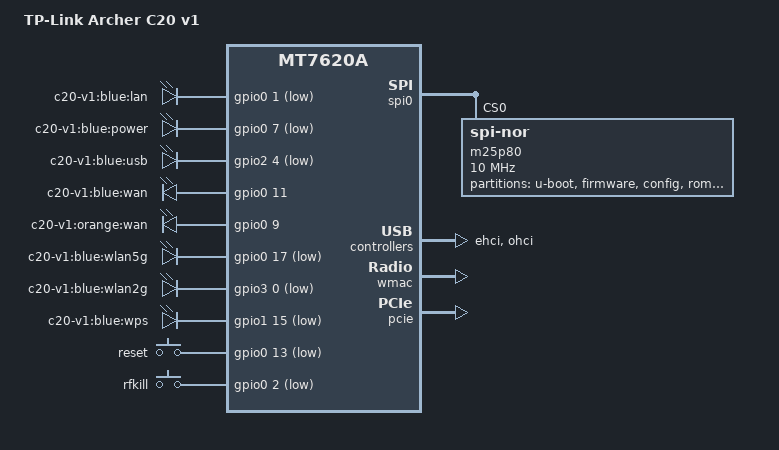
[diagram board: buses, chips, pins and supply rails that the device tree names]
/dts-v1/;

#include "mt7620a.dtsi"

#include <dt-bindings/input/input.h>
#include <dt-bindings/gpio/gpio.h>

/ {
	compatible = "tplink,c20-v1", "ralink,mt7620a-soc";
	model = "TP-Link Archer C20 v1";

	aliases {
		led-status = &led_power;
	};

	chosen {
		bootargs = "console=ttyS0,115200";
	};

	gpio-leds {
		compatible = "gpio-leds";

		lan {
			label = "c20-v1:blue:lan";
			gpios = <&gpio0 1 GPIO_ACTIVE_LOW>;
		};

		led_power: power {
			label = "c20-v1:blue:power";
			gpios = <&gpio0 7 GPIO_ACTIVE_LOW>;
			default-state = "keep";
		};

		usb {
			label = "c20-v1:blue:usb";
			gpios = <&gpio2 4 GPIO_ACTIVE_LOW>;
		};

		wan {
			label = "c20-v1:blue:wan";
			gpios = <&gpio0 11 GPIO_ACTIVE_HIGH>;
		};

		wan_orange {
			label = "c20-v1:orange:wan";
			gpios = <&gpio0 9 GPIO_ACTIVE_HIGH>;
		};

		wlan5g {
			label = "c20-v1:blue:wlan5g";
			gpios = <&gpio0 17 GPIO_ACTIVE_LOW>;
		};

		wlan2g {
			label = "c20-v1:blue:wlan2g";
			gpios = <&gpio3 0 GPIO_ACTIVE_LOW>;
		};

		wps {
			label = "c20-v1:blue:wps";
			gpios = <&gpio1 15 GPIO_ACTIVE_LOW>;
		};
	};

	gpio-keys-polled {
		compatible = "gpio-keys-polled";
		poll-interval = <20>;

		reset {
			label = "reset";
			gpios = <&gpio0 13 GPIO_ACTIVE_LOW>;
			linux,code = <KEY_RESTART>;
		};

		rfkill {
			label = "rfkill";
			gpios = <&gpio0 2 GPIO_ACTIVE_LOW>;
			linux,code = <KEY_RFKILL>;
		};
	};
};

&gpio1 {
	status = "okay";
};

&gpio2 {
	status = "okay";
};

&gpio3 {
	status = "okay";
};

&spi0 {
	status = "okay";

	m25p80@0 {
		compatible = "jedec,spi-nor";
		reg = <0>;
		spi-max-frequency = <10000000>;

		partitions {
			compatible = "fixed-partitions";
			#address-cells = <1>;
			#size-cells = <1>;

			partition@0 {
				label = "u-boot";
				reg = <0x0 0x20000>;
				read-only;
			};

			partition@20000 {
				label = "firmware";
				reg = <0x20000 0x7a0000>;
			};

			partition@7c0000 {
				label = "config";
				reg = <0x7c0000 0x10000>;
				read-only;
			};

			rom: partition@7d0000 {
				label = "rom";
				reg = <0x7d0000 0x10000>;
				read-only;
			};

			partition@7e0000 {
				label = "romfile";
				reg = <0x7e0000 0x10000>;
				read-only;
			};

			radio: partition@7f0000 {
				label = "radio";
				reg = <0x7f0000 0x10000>;
				read-only;
			};
		};
	};
};

&pinctrl {
	state_default: pinctrl0 {
		gpio {
			ralink,group = "i2c", "uartf", "wled", "ephy", "spi refclk", "wdt";
			ralink,function = "gpio";
		};
	};
};

&ethernet {
		pinctrl-names = "default";
		mtd-mac-address = <&rom 0xf100>;
		mediatek,portmap = "wllll";
	};

&ehci {
	status = "okay";
};

&ohci {
	status = "okay";
};

&gsw {
	mediatek,port4 = "ephy";
};

&wmac {
	ralink,mtd-eeprom = <&radio 0>;
	mtd-mac-address = <&rom 0xf100>;
	mtd-mac-address-increment = <(-2)>;
	pinctrl-names = "default";
	pinctrl-0 = <&pa_pins>;
};

&pcie {
	status = "okay";
};

&pcie0 {
	mt76@0,0 {
		reg = <0x0000 0 0 0 0>;
		mediatek,mtd-eeprom = <&radio 0x8000>;
		ieee80211-freq-limit = <5000000 6000000>;
		mtd-mac-address = <&rom 0xf100>;
		mtd-mac-address-increment = <(-1)>;
	};
};
